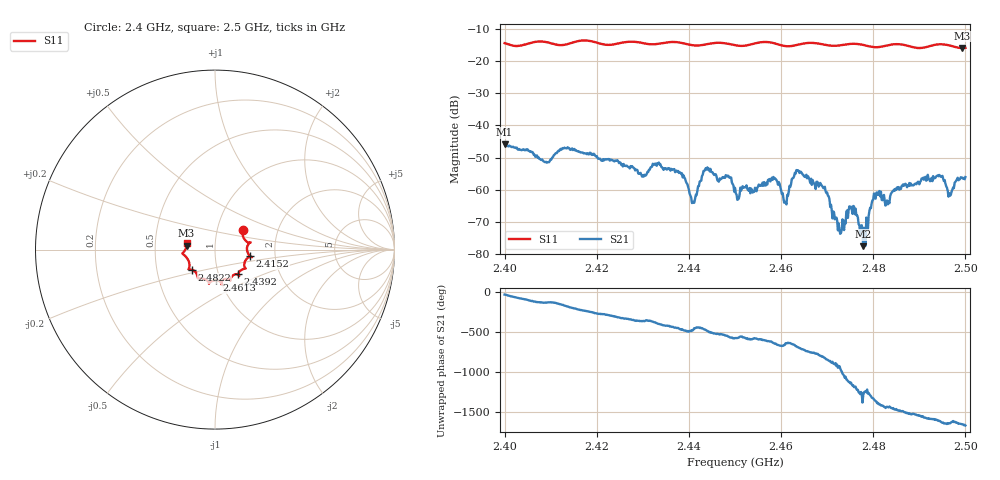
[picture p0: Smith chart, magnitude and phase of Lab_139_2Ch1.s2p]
# Hz S RI R 50
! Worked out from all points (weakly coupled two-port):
!   601 points, 2.4 GHz to 2.5 GHz, reference 50 ohm
!   highest |S21| = -45.82 dB at 2.4 GHz (marker M1); lowest = -77.5 dB at 2.4778 GHz (marker M2)
!   lowest |S11| = -15.9 dB at 2.4993 GHz (marker M3), VSWR 1.38, Z = 36.3 + j1.63 ohm
!   |S11| at or under -10 dB: start of sweep to end of sweep
!   S12 and S22 are empty: the file has one direction only
!   S11 on the Smith chart (normalised r, x): 2.4 GHz: 1.33, +0.31; 2.4152 GHz: 1.48, -0.11; 2.4392 GHz: 1.23, -0.35; 2.4613 GHz: 0.96, -0.34; 2.4822 GHz: 0.76, -0.17; 2.5 GHz: 0.73, +0.05
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2.4e9  0.1551 0.1115  0.00449 -0.00246  0 0  0 0
2.409167e9  0.1936 0.0382  -0.00163 -0.00207  0 0  0 0
2.415167e9  0.1955 -0.0364  -0.00397 0.00169  0 0  0 0
2.416667e9  0.205 -0.0424  -0.00282 0.00256  0 0  0 0
2.433333e9  0.1319 -0.132  0.00216 -0.00143  0 0  0 0
2.439167e9  0.1268 -0.1377  -0.000672 -0.00132  0 0  0 0
2.440833e9  0.1107 -0.1381  -0.000268 -0.000572  0 0  0 0
2.443833e9  0.0866 -0.1621  -0.000982 -0.00182  0 0  0 0
2.45e9  0.0689 -0.1635  -0.000907 0.000571  0 0  0 0
2.4585e9  0.0371 -0.1868  0.000187 0.00148  0 0  0 0
2.461333e9  0.00738 -0.1708  9.65e-05 0.00083  0 0  0 0
2.463333e9  -0.0206 -0.1773  0.00142 0.00145  0 0  0 0
2.466667e9  -0.0335 -0.1899  0.00096 -0.000706  0 0  0 0
2.469833e9  -0.0414 -0.1735  -0.00043 -0.000779  0 0  0 0
2.472667e9  -0.0732 -0.1603  -0.000218 8.94e-05  0 0  0 0
2.475333e9  -0.0928 -0.1619  0.000171 -0.000473  0 0  0 0
2.477833e9  -0.0968 -0.1507  -0.000122 5.12e-05  0 0  0 0
2.480333e9  -0.1097 -0.1235  7.74e-06 0.000764  0 0  0 0
2.482167e9  -0.1284 -0.1121  0.000755 0.000292  0 0  0 0
2.483333e9  -0.1397 -0.1103  0.000662 2.1e-05  0 0  0 0
2.499333e9  -0.1586 0.0219  -0.00136 0.000738  0 0  0 0
2.5e9  -0.158 0.0342  -0.00115 0.00108  0 0  0 0
